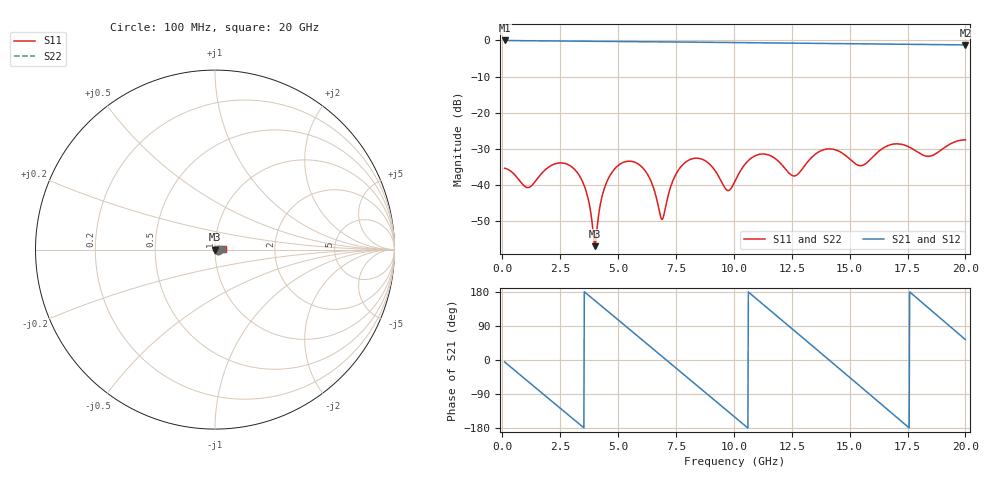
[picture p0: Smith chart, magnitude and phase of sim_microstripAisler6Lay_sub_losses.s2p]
#  Hz  S  RI  R  50
!  Microstrip line with via fence on Aisler 6 layer HD stackup
!  Line length = combLineTabbed6G_2xthru (54.2mm) - SMA_Rosenbergerv2 fixture (28.9mm) = 23.5mm
!  Substrate losses only
!  Paramter List:
!  lossySubstrate = 1, Flag that indicates if substrate losses were enabled
!  lossyCondSheet = 0, Flag that indicates if the zero thickness conducting sheet model was used
!  w50 = 0.65, Width of the 50Ohm line
!  w50gndfree = 1.225, Seperation between RF trace edges to GND planes
!  lineLength = 23.5, Length of the microstrip transmission line
!  portLength = 8,
!  measPlaneShiftP1 = 8,
!  measPlaneShiftP2 = 8,
!  feedShift = 3.74741,
!  numViasX = 55,
!  pcbX = 39.5,
!  pcbY = 25,
!  stackupL01th = 0.04,
!  stackupSub01th = 0.13626,
!  stackupL02th = 0.035,
!  stackupSub02th = 0.2,
!  stackupL03th = 0.035,
!  viaD03 = 0.3,
!  viaCpD03 = 0.6,
!  viaClearD03 = 1,
!  viaPitch = 0.6,
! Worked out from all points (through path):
!   1001 points, 100 MHz to 20 GHz, reference 50 ohm
!   highest |S21| = 0.01 dB at 100 MHz (marker M1); lowest = -1.2 dB at 20 GHz (marker M2)
!   group delay of S21, straight-line fit = 142 ps
!   lowest |S11| = -57.0 dB at 4 GHz (marker M3), VSWR 1.00, Z = 49.9 - j0.0432 ohm
!   |S11| at or under -10 dB: start of sweep to end of sweep
!   |S22| runs from -57.0 to -27.6 dB; largest |S21 - S12| = 1.4e-05
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1e8  0.0166 -0.00335  0.9966 -0.0901  0.9966 -0.0901  0.0166 -0.00335
1.0751e9  -0.00835 -0.00377  0.5722 -0.8113  0.5722 -0.8113  -0.00835 -0.00377
1.7517e9  -0.00175 0.0149  0.0124 -0.9897  0.0124 -0.9897  -0.00174 0.0149
3.4233e9  0.00926 -0.00732  -0.9742 -0.103  -0.9742 -0.103  0.00926 -0.00732
4.0004e9  -0.00134 -0.000434  -0.8974 0.3843  -0.8974 0.3843  -0.00134 -0.000434
4.4581e9  0.00029 0.00988  -0.6717 0.7057  -0.6717 0.7057  0.00029 0.00988
5.1944e9  0.016 0.0124  -0.1044 0.9636  -0.1044 0.9636  0.016 0.0124
6.1297e9  0.0156 -0.00467  0.6361 0.7235  0.6361 0.7235  0.0156 -0.00467
6.7466e9  0.00447 -0.0019  0.9158 0.2853  0.9158 0.2853  0.00448 -0.00189
6.9456e9  0.00297 0.00183  0.9504 0.1197  0.9504 0.1197  0.00297 0.00183
7.5824e9  0.00928 0.0125  0.8622 -0.4067  0.8622 -0.4067  0.00929 0.0125
8.5376e9  0.0228 0.00298  0.2619 -0.9093  0.2619 -0.9093  0.0228 0.00298
1.005e10  0.00882 0.00695  -0.8196 -0.4509  -0.8196 -0.4509  0.00883 0.00695
1.09455e10  0.0235 0.00965  -0.8878 0.2718  -0.8878 0.2718  0.0235 0.00965
1.19405e10  0.0206 -0.00385  -0.3444 0.8545  -0.3444 0.8545  0.0206 -0.00385
1.33733e10  0.0212 0.0115  0.7157 0.5641  0.7157 0.5641  0.0213 0.0115
1.43285e10  0.0309 0.000297  0.8878 -0.1727  0.8878 -0.1727  0.031 0.000273
1.53434e10  0.0188 -0.000256  0.4008 -0.8035  0.4008 -0.8035  0.0188 -0.000383
1.66966e10  0.0343 0.00819  -0.6141 -0.6425  -0.6141 -0.6425  0.0342 0.00811
1.80498e10  0.0268 -0.00316  -0.8035 0.3601  -0.8035 0.3601  0.0268 -0.00316
1.90448e10  0.0305 0.00911  -0.209 0.849  -0.209 0.849  0.0305 0.00902
2e10  0.0418 0.00205  0.5131 0.7012  0.5131 0.7012  0.0417 0.00194
